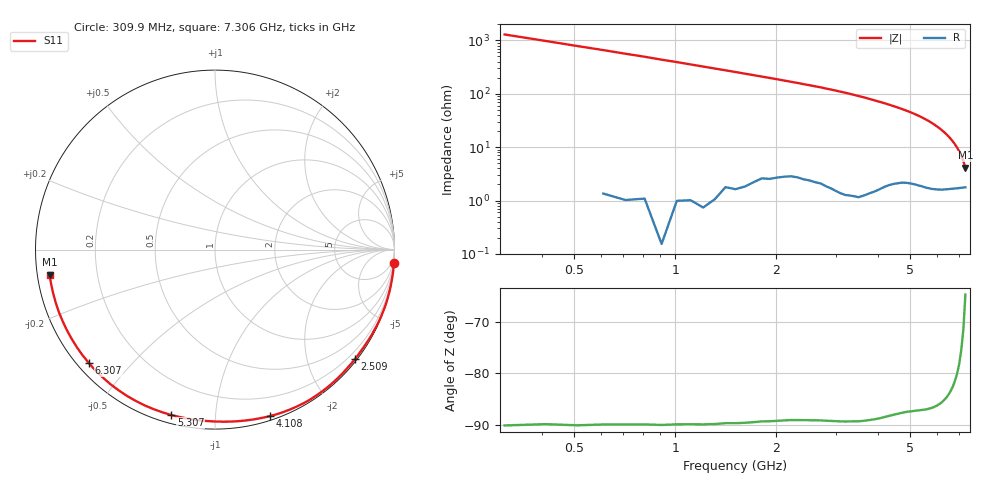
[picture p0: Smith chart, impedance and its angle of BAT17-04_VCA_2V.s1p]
! Infineon Technologies  Discrete & RF Semiconductors
! BAT17-04
! VCA = 2 V
! One-Port S-Parameters
# Hz  S  MA  R  50
!f  S11
!Hz  Mag  Ang
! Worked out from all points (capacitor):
!   71 points, 309.9 MHz to 7.306 GHz, reference 50 ohm
!   read as one part to ground: C = 397 fF near 309.9 MHz
!   lowest |Z| = 4.13 ohm at 7.306 GHz (marker M1)
!   S11 on the Smith chart (normalised r, x): 309.9 MHz: -0, -26; 2.509 GHz: 0.05, -2.89; 4.108 GHz: 0.03, -1.38; 5.307 GHz: 0.04, -0.77; 6.307 GHz: 0.03, -0.38; 7.306 GHz: 0.04, -0.07
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3.0985e8  1 -4.4
8.096e8  0.9996 -11.6
1.2094e9  0.9993 -17.6
1.6092e9  0.9969 -23.7
2.10895e9  0.9918 -31.6
2.50875e9  0.9899 -38.1
2.70865e9  0.9896 -41.6
3.0085e9  0.9904 -47.2
3.2084e9  0.9906 -51.2
3.4083e9  0.9896 -55.4
3.6082e9  0.988 -59.8
3.8081e9  0.9844 -64.5
4.10795e9  0.977 -71.7
4.4078e9  0.9678 -79.4
4.70765e9  0.9597 -87.4
5.0075e9  0.9549 -95.8
5.30735e9  0.9532 -104.8
5.4073e9  0.9526 -107.9
5.6072e9  0.9524 -114.3
5.8071e9  0.9513 -121.0
6.007e9  0.9494 -127.7
6.2069e9  0.9471 -134.6
6.30685e9  0.9453 -138.0
6.50675e9  0.9424 -144.8
6.70665e9  0.9394 -151.6
6.90655e9  0.9368 -158.2
7.10645e9  0.9342 -164.9
7.30635e9  0.9321 -171.4
